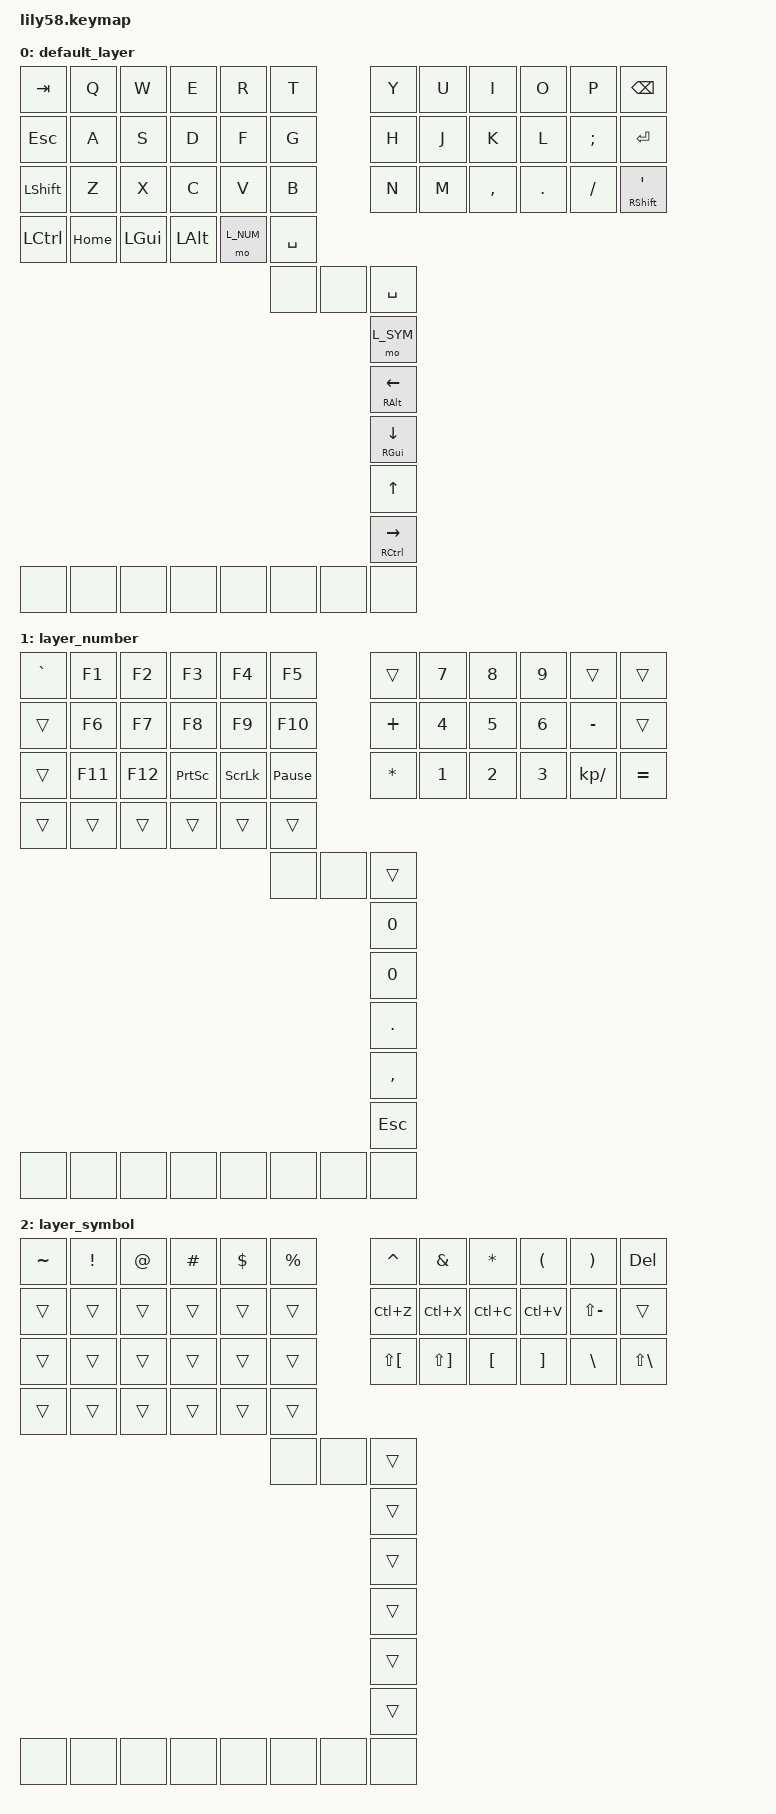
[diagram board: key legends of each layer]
/*
 * Copyright (c) 2020 The ZMK Contributors
 *
 * SPDX-License-Identifier: MIT
 */

#include <behaviors.dtsi>
#include <dt-bindings/zmk/keys.h>
#include <dt-bindings/zmk/bt.h>
#include <dt-bindings/zmk/ext_power.h>
#include <dt-bindings/zmk/pointing.h>
#include <input/processors.dtsi>

#define ZMK_POINTING_DEFAULT_MOVE_VAL 2400
#define L_NUM 1
#define L_SYM 2
#define L_MOU 3
#define L_MO1 4
#define L_MO2 5

&mmv {
    acceleration-exponent = <2>;      // 1 = constant, 2 = exponential ramp-up
    time-to-max-speed-ms = <200>;     // How long to reach full speed (for analog feel)
    delay-ms = <0>;                   // No delay when pressing key
};

&mmv_input_listener {
    precision_layer {
        layers = <L_MO1>;
        input-processors = <&zip_xy_scaler 1 2>; 
    };

    precision_more {
        layers = <L_MO2>;
        input-processors = <&zip_xy_scaler 1 4>;
    };
};

/ {
    behaviors {
        mt: mod_tap {
            compatible = "zmk,behavior-hold-tap";
            #binding-cells = <2>;
            flavor = "hold-preferred";
            tapping-term-ms = <220>;
            bindings = <&kp>, <&kp>;
            display-name = "Mod-Tap";
            quick-tap-ms = <200>;
            // hold-while-undecided;
        };
        lt: layer_tap {
            compatible = "zmk,behavior-hold-tap";
            #binding-cells = <2>;
            flavor = "hold-preferred";
            tapping-term-ms = <220>;
            bindings = <&mo>, <&kp>;
            quick-tap-ms = <200>;
            display-name = "Layer-Tap";
            hold-while-undecided;
        };
    };

    keymap {
        compatible = "zmk,keymap";

        default_layer {
            bindings = <
    &kp TAB       &kp Q       &kp W     &kp E     &kp R     &kp T               &kp Y      &kp U     &kp I          &kp O    &kp P    &kp BSPC
    &kp ESC       &kp A       &kp S     &kp D     &kp F     &kp G               &kp H      &kp J     &kp K          &kp L    &kp SEMI &kp ENTER
    &kp LSHFT     &kp Z       &kp X     &kp C     &kp V     &kp B               &kp N      &kp M     &kp COMMA      &kp DOT  &kp FSLH &mt RSHFT SINGLE_QUOTE
    &kp LCTRL     &kp HOME  &kp LGUI  &kp LALT  &mo L_NUM &kp SPACE
                                                              &none  &none   &kp SPACE  
                                                                             &mo L_SYM 
                                                                             &mt RALT LEFT 
                                                                             &mt RGUI DOWN 
                                                                             &kp UP
                                                                             &mt RCTRL RIGHT
    &none &none &none &none &none &none &none &none
            >;
        };

        layer_number {
            bindings = <
    &kp GRAVE &kp F1  &kp F2  &kp F3    &kp F4  &kp F5                  &trans     &kp N7   &kp N8  &kp N9  &trans        &trans
    &trans    &kp F6  &kp F7  &kp F8    &kp F9  &kp F10                 &kp PLUS   &kp N4   &kp N5  &kp N6  &kp MINUS     &trans
    &trans    &kp F11 &kp F12 &kp PSCRN &kp SCROLLLOCK
                                                &kp PAUSE_BREAK         &kp ASTRK  &kp N1   &kp N2  &kp N3  &kp KP_SLASH  &kp EQUAL
    &trans    &trans  &trans  &trans    &trans  &trans   &none  &none   &trans     &kp N0   &kp N0  &kp DOT &kp COMMA     &kp ESC
    &none &none &none &none &none &none &none &none
            >;
        };

        layer_symbol {
            bindings = <
    &kp TILDE &kp EXCL &kp AT  &kp HASH  &kp DOLLAR  &kp PRCNT                &kp CARET   &kp AMPS  &kp ASTRK  &kp LPAR  &kp RPAR  &kp DEL
    &trans    &trans   &trans  &trans    &trans      &trans                   &kp LC(Z)   &kp LC(X) &kp LC(C)  &kp LC(V) &kp LS(MINUS) &trans
    &trans    &trans   &trans  &trans    &trans      &trans                   &kp LS(LEFT_BRACKET)
                                                                              &kp LS(RIGHT_BRACKET)
                                                                              &kp LEFT_BRACKET      
                                                                              &kp RIGHT_BRACKET     
                                                                              &kp BACKSLASH     
                                                                              &kp LS(BACKSLASH)
    &trans    &trans   &trans  &trans    &trans      &trans    &none  &none   &trans      &trans    &trans     &trans    &trans    &trans
    &none &none &none &none &none &none &none &none
            >;
        };
        
    };
};

